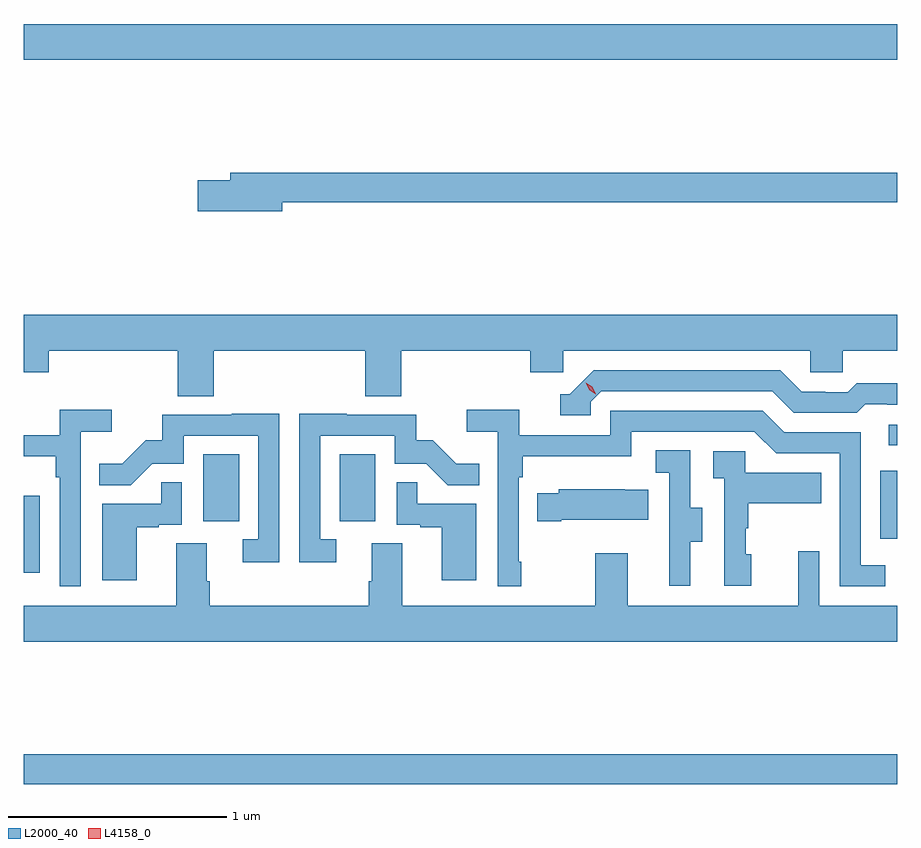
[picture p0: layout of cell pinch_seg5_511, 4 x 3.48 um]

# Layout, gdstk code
import gdstk
lib = gdstk.Library(unit=1e-6, precision=1e-09)
def R(c, l, rs):  # rectangles x0, y0, x1, y1
    for r in rs: c.add(gdstk.rectangle(r[:2], r[2:], *l))
def P(c, l, *ps):  # polygons
    for p in ps: c.add(gdstk.Polygon(p, *l))
L2000_40 = (2000, 40)
L4158_0 = (4158, 0)

pinch_seg5_511 = lib.new_cell('pinch_seg5_511')
R(pinch_seg5_511, L2000_40, [(911.57,834.796,915.57,834.932), (911.57,835.764,911.644,836.116), (915.492,835.92,915.57,836.23), (912.392,835.998,912.556,836.305), (913.016,835.998,913.18,836.305), (915.531,836.346,915.57,836.442), (911.57,838.112,915.57,838.276)])
P(pinch_seg5_511, L2000_40, [(912.754,837.46),(915.57,837.46),(915.57,837.596),(912.515,837.596),(912.515,837.56),(912.366,837.56),(912.366,837.418),(912.754,837.418)],
  [(912.44,836.78),(913.133,836.78),(913.133,836.572),(913.298,836.572),(913.298,836.78),(913.889,836.78),(913.889,836.682),(914.04,836.682),(914.04,836.78),(915.171,836.78),(915.171,836.682),(915.321,836.682),(915.321,836.78),(915.57,836.78),(915.57,836.944),(911.57,836.944),(911.57,836.682),(911.684,836.682),(911.684,836.78),(912.275,836.78),(912.275,836.572),(912.44,836.572)],
  [(914.166,836.547),(914.214,836.595),(914.997,836.595),(915.096,836.496),(915.385,836.496),(915.424,836.535),(915.523,836.535),(915.523,836.532),(915.57,836.532),(915.57,836.632),(915.385,836.632),(915.343,836.589),(915.24,836.589),(915.24,836.592),(915.133,836.592),(915.034,836.691),(914.181,836.691),(914.07,836.58),(914.027,836.58),(914.027,836.484),(914.166,836.484)],
  [(911.832,836.408),(911.974,836.408),(911.974,836.51),(911.735,836.51),(911.735,836.394),(911.57,836.394),(911.57,836.297),(911.716,836.297),(911.716,836.201),(911.736,836.201),(911.736,835.701),(911.832,835.701)],
  [(913.849,835.813),(913.836,835.813),(913.836,836.201),(913.856,836.201),(913.856,836.297),(914.352,836.297),(914.352,836.409),(914.916,836.409),(915.015,836.31),(915.306,836.31),(915.306,835.701),(915.515,835.701),(915.515,835.797),(915.402,835.797),(915.402,836.406),(915.052,836.406),(914.953,836.505),(914.256,836.505),(914.256,836.394),(913.838,836.394),(913.838,836.51),(913.599,836.51),(913.599,836.408),(913.74,836.408),(913.74,835.701),(913.849,835.701)],
  [(913,835.917),(912.927,835.917),(912.927,836.391),(913.269,836.391),(913.269,836.262),(913.413,836.262),(913.511,836.164),(913.655,836.164),(913.655,836.263),(913.551,836.263),(913.444,836.37),(913.368,836.37),(913.368,836.487),(913.049,836.487),(913.049,836.492),(912.831,836.492),(912.831,835.812),(913,835.812)],
  [(912.741,836.492),(912.523,836.492),(912.523,836.487),(912.205,836.487),(912.205,836.37),(912.128,836.37),(912.021,836.263),(911.917,836.263),(911.917,836.164),(912.061,836.164),(912.159,836.262),(912.303,836.262),(912.303,836.391),(912.645,836.391),(912.645,835.917),(912.573,835.917),(912.573,835.812),(912.741,835.812)],
  [(914.623,835.906),(914.677,835.906),(914.677,836.061),(914.622,836.061),(914.622,836.324),(914.463,836.324),(914.463,836.221),(914.526,836.221),(914.526,835.917),(914.525,835.917),(914.525,835.704),(914.623,835.704)],
  [(914.902,835.848),(914.877,835.848),(914.877,835.967),(914.887,835.967),(914.887,836.081),(915.221,836.081),(915.221,836.221),(914.874,836.221),(914.874,836.319),(914.727,836.319),(914.727,836.195),(914.778,836.195),(914.778,835.704),(914.902,835.704)],
  [(913.642,836.079),(913.373,836.079),(913.373,836.177),(913.278,836.177),(913.278,835.983),(913.385,835.983),(913.385,835.971),(913.484,835.971),(913.484,835.728),(913.642,835.728)],
  [(912.088,835.971),(912.188,835.971),(912.188,835.983),(912.294,835.983),(912.294,836.177),(912.199,836.177),(912.199,836.079),(911.93,836.079),(911.93,835.728),(912.088,835.728)],
  [(914.032,836.006),(914.429,836.006),(914.429,836.143),(914.321,836.143),(914.321,836.146),(914.019,836.146),(914.019,836.128),(913.921,836.128),(913.921,835.999),(914.032,835.999)],
  [(915.57,835.612),(915.213,835.612),(915.213,835.861),(915.116,835.861),(915.116,835.612),(914.335,835.612),(914.335,835.852),(914.188,835.852),(914.188,835.612),(913.303,835.612),(913.303,835.898),(913.163,835.898),(913.163,835.724),(913.151,835.724),(913.151,835.612),(912.422,835.612),(912.422,835.724),(912.409,835.724),(912.409,835.898),(912.269,835.898),(912.269,835.612),(911.57,835.612),(911.57,835.448),(915.57,835.448)])
P(pinch_seg5_511, L4158_0, [(914.189,836.581),(914.159,836.601),(914.144,836.634),(914.144,836.634),(914.144,836.634),(914.174,836.614),(914.19,836.581),(914.19,836.581)])

lib.write_gds('pinch_seg5_511.gds')
